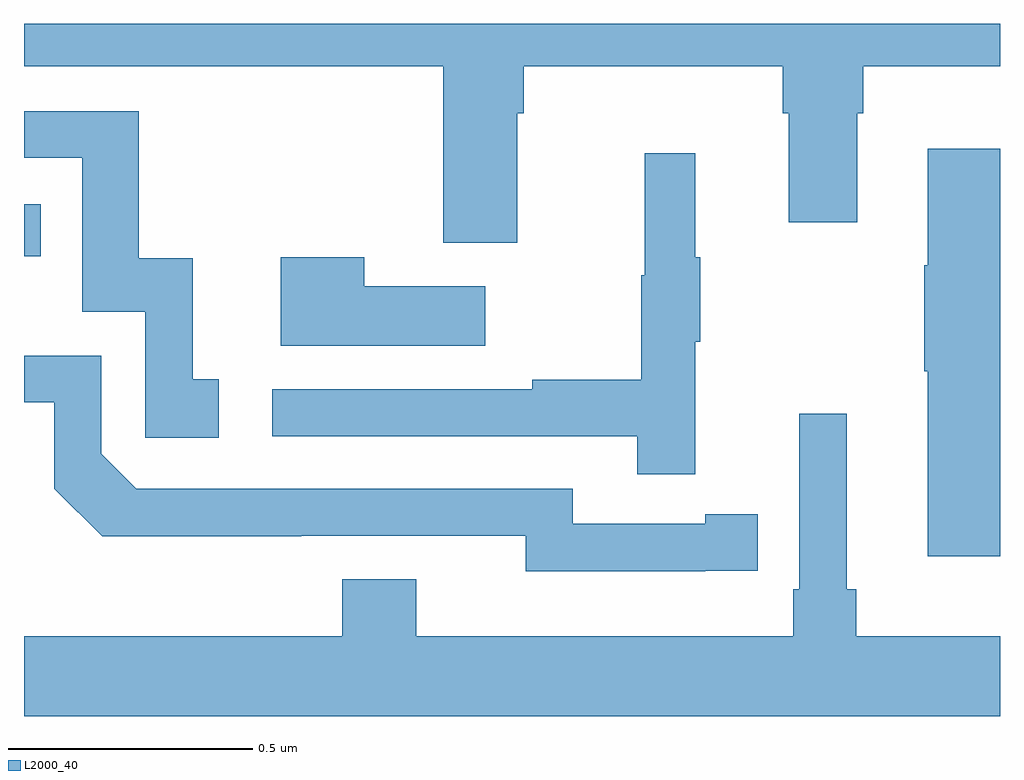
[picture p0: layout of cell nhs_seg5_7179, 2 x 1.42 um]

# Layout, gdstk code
import gdstk
lib = gdstk.Library(unit=1e-6, precision=1e-09)
def R(c, l, rs):  # rectangles x0, y0, x1, y1
    for r in rs: c.add(gdstk.rectangle(r[:2], r[2:], *l))
def P(c, l, *ps):  # polygons
    for p in ps: c.add(gdstk.Polygon(p, *l))
L2000_40 = (2000, 40)

nhs_seg5_7179 = lib.new_cell('nhs_seg5_7179')
R(nhs_seg5_7179, L2000_40, [(205,904.323,205.034,904.429)])
P(nhs_seg5_7179, L2000_40, [(206.011,904.616),(206.024,904.616),(206.024,904.712),(206.555,904.712),(206.555,904.616),(206.567,904.616),(206.567,904.392),(206.707,904.392),(206.707,904.616),(206.72,904.616),(206.72,904.712),(207,904.712),(207,904.799),(205,904.799),(205,904.712),(205.859,904.712),(205.859,904.35),(206.011,904.35)],
  [(205.399,904.071),(205.346,904.071),(205.346,904.318),(205.235,904.318),(205.235,904.62),(205,904.62),(205,904.524),(205.119,904.524),(205.119,904.209),(205.248,904.209),(205.248,903.951),(205.399,903.951)],
  [(207,904.543),(206.852,904.543),(206.852,904.304),(206.845,904.304),(206.845,904.087),(206.852,904.087),(206.852,903.708),(207,903.708)],
  [(206.375,904.147),(206.386,904.147),(206.386,904.321),(206.375,904.321),(206.375,904.534),(206.272,904.534),(206.272,904.284),(206.265,904.284),(206.265,904.07),(206.041,904.07),(206.041,904.05),(205.509,904.05),(205.509,903.954),(206.257,903.954),(206.257,903.876),(206.375,903.876)],
  [(205.945,904.261),(205.697,904.261),(205.697,904.321),(205.526,904.321),(205.526,904.139),(205.945,904.139)],
  [(206.396,903.678),(206.504,903.678),(206.504,903.794),(206.396,903.794),(206.396,903.774),(206.124,903.774),(206.124,903.846),(205.23,903.846),(205.158,903.918),(205.158,904.119),(205,904.119),(205,904.023),(205.062,904.023),(205.062,903.846),(205.16,903.749),(205.568,903.749),(205.568,903.75),(206.028,903.75),(206.028,903.677),(206.396,903.677)],
  [(206.589,904),(206.589,903.64),(206.576,903.64),(206.576,903.544),(205.804,903.544),(205.804,903.661),(205.652,903.661),(205.652,903.544),(205,903.544),(205,903.38),(207,903.38),(207,903.544),(206.705,903.544),(206.705,903.64),(206.686,903.64),(206.686,904)])

lib.write_gds('nhs_seg5_7179.gds')
